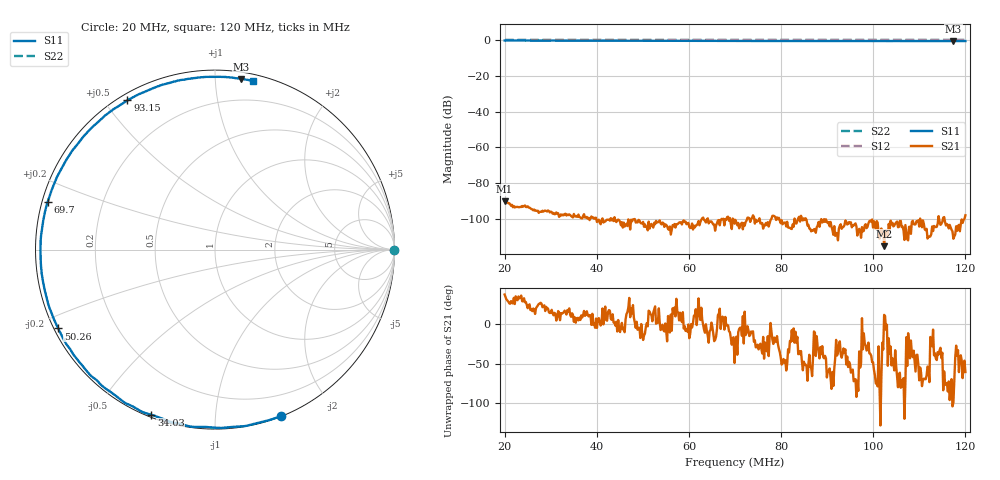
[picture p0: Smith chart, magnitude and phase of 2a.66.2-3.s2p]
! Anritsu VNA Master:  Model: MS2036C/10/77
! SN:  1601066
! /bd0/18may26.balun/2a.66.2.s2p
! Existing Calibration Information:
! TYPE:  Current Settings,  Active Cal Settings
! TIME:  05/26/2018 07:55:03 PM,  05/26/2018 07:26:54 PM
! INTERNAL TEMP:  45.5 C,  45.5 C
! # POINTS:  500,  500
! START FREQ:  20.000 MHz,  20.000 MHz
! STOP FREQ:  120.000 MHz,  120.000 MHz
! SOURCE POWER:  High,  High
! IFBW:  50 Hz,  50 Hz
! AVG FACTOR:  1 ,  1
! REF PLANE 1:  0 mm,  0 mm
! REF PLANE 2:  0 mm,  0 mm
! CAL TYPE:  Full S11,  Full S11
! CAL METHOD:  SOLT,  SOLT
! CAL LINE TYPE:  Coax,  Coax
! DUT PORT 1:  K-Conn(M),  K-Conn(M)
! DUT PORT 2:  K-Conn(M),  K-Conn(M)
! CAL STATUS:  OK: Accuracy High,  --
# GHZ S DB R 50.0
! FREQ.GHZ  S11DB  S11A  S21DB  S21A  S12DB  S12A  S22DB  S22A
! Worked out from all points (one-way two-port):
!   500 points, 20 MHz to 120 MHz, reference 50 ohm
!   highest |S21| = -90.15 dB at 20 MHz (marker M1); lowest = -115.4 dB at 102.4 MHz (marker M2)
!   lowest |S11| = -0.3 dB at 117.4 MHz (marker M3), VSWR 51.21, Z = 2.3 + j58.3 ohm
!   |S11| at or under -10 dB: nowhere
!   |S22| runs from 0.0 to 0.0 dB; largest |S21 - S12| = 1
!   S11 on the Smith chart (normalised r, x): 20 MHz: 0.01, -1.47; 34.03 MHz: 0.01, -0.69; 50.26 MHz: 0.01, -0.24; 69.7 MHz: 0.02, +0.14; 93.15 MHz: 0.02, +0.57; 120 MHz: 0.05, +1.25
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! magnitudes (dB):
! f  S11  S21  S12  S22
! 20 MHz  0.0  -90.1  0.0  0.0
! 23.61 MHz  0.0  -93.4  0.0  0.0
! 27.62 MHz  -0.1  -96.1  0.0  0.0
! 29.42 MHz  0.0  -95.3  0.0  0.0
! 34.03 MHz  -0.1  -97.6  0.0  0.0
! 35.03 MHz  -0.1  -97.3  0.0  0.0
! 36.83 MHz  -0.1  -99.8  0.0  0.0
! 37.64 MHz  -0.1  -99.3  0.0  0.0
! 39.24 MHz  -0.1  -99.3  0.0  0.0
! 40.64 MHz  -0.1  -102.2  0.0  0.0
! 41.84 MHz  -0.2  -101.5  0.0  0.0
! 42.85 MHz  -0.1  -101.1  0.0  0.0
! 50.26 MHz  -0.2  -104.5  0.0  0.0
! 53.47 MHz  -0.2  -101.5  0.0  0.0
! 69.7 MHz  -0.3  -100.4  0.0  0.0
! 70.1 MHz  -0.3  -100.6  0.0  0.0
! 86.73 MHz  -0.3  -106.3  0.0  0.0
! 93.15 MHz  -0.3  -105.6  0.0  0.0
! 102.4 MHz  -0.3  -115.4  0.0  0.0
! 103.4 MHz  -0.3  -102.9  0.0  0.0
! 117.4 MHz  -0.3  -111.2  0.0  0.0
! 120 MHz  -0.3  -98.0  0.0  0.0
